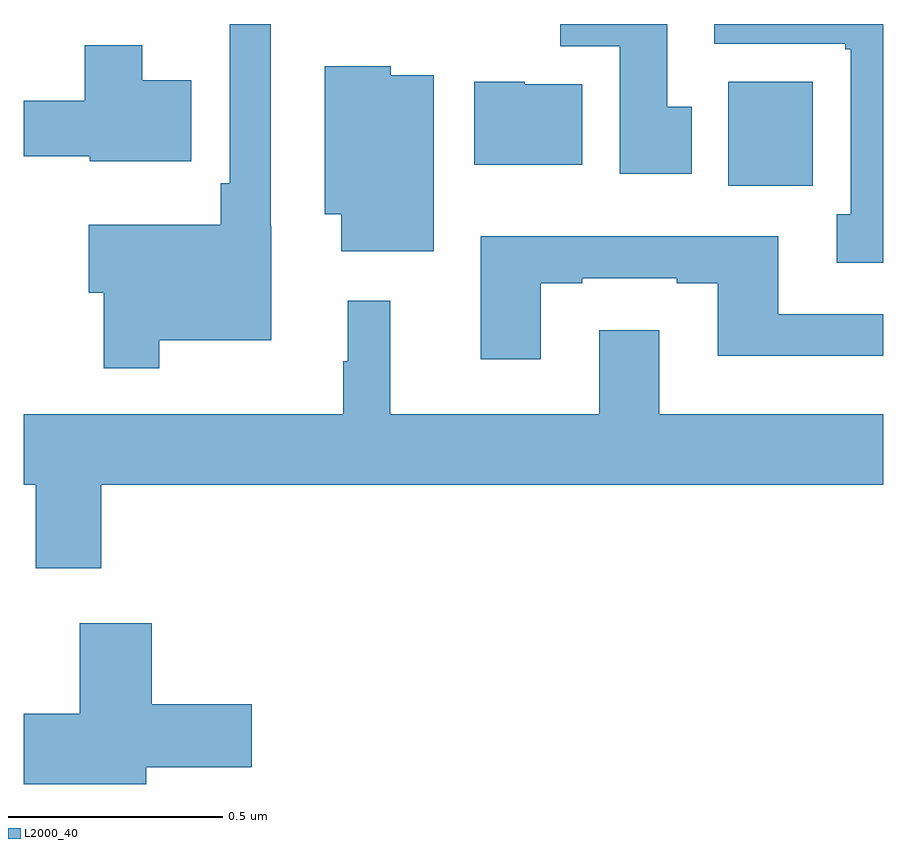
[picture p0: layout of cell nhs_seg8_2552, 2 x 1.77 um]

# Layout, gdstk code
import gdstk
lib = gdstk.Library(unit=1e-6, precision=1e-09)
def R(c, l, rs):  # rectangles x0, y0, x1, y1
    for r in rs: c.add(gdstk.rectangle(r[:2], r[2:], *l))
def P(c, l, *ps):  # polygons
    for p in ps: c.add(gdstk.Polygon(p, *l))
L2000_40 = (2000, 40)

nhs_seg8_2552 = lib.new_cell('nhs_seg8_2552')
R(nhs_seg8_2552, L2000_40, [(146.639,1122.524,146.836,1122.766)])
P(nhs_seg8_2552, L2000_40, [(146.554,1122.708),(146.497,1122.708),(146.497,1122.9),(146.248,1122.9),(146.248,1122.848),(146.387,1122.848),(146.387,1122.552),(146.554,1122.552)],
  [(145.315,1122.164),(145.576,1122.164),(145.576,1122.429),(145.575,1122.429),(145.575,1122.9),(145.479,1122.9),(145.479,1122.529),(145.459,1122.529),(145.459,1122.433),(145.152,1122.433),(145.152,1122.275),(145.186,1122.275),(145.186,1122.099),(145.315,1122.099)],
  [(147,1122.9),(146.607,1122.9),(146.607,1122.854),(146.911,1122.854),(146.911,1122.841),(146.924,1122.841),(146.924,1122.458),(146.891,1122.458),(146.891,1122.345),(147,1122.345)],
  [(145.39,1122.769),(145.276,1122.769),(145.276,1122.85),(145.142,1122.85),(145.142,1122.721),(145,1122.721),(145,1122.592),(145.154,1122.592),(145.154,1122.581),(145.39,1122.581)],
  [(145.954,1122.781),(145.854,1122.781),(145.854,1122.802),(145.7,1122.802),(145.7,1122.458),(145.739,1122.458),(145.739,1122.371),(145.954,1122.371)],
  [(146.299,1122.76),(146.166,1122.76),(146.166,1122.766),(146.048,1122.766),(146.048,1122.572),(146.299,1122.572)],
  [(146.203,1122.297),(146.299,1122.297),(146.299,1122.309),(146.519,1122.309),(146.519,1122.297),(146.615,1122.297),(146.615,1122.128),(147,1122.128),(147,1122.225),(146.755,1122.225),(146.755,1122.406),(146.063,1122.406),(146.063,1122.12),(146.203,1122.12)],
  [(145.181,1121.828),(147,1121.828),(147,1121.992),(146.479,1121.992),(146.479,1122.187),(146.339,1122.187),(146.339,1121.992),(145.853,1121.992),(145.853,1122.256),(145.754,1122.256),(145.754,1122.116),(145.743,1122.116),(145.743,1121.992),(145,1121.992),(145,1121.828),(145.028,1121.828),(145.028,1121.634),(145.181,1121.634)],
  [(145.285,1121.171),(145.531,1121.171),(145.531,1121.318),(145.298,1121.318),(145.298,1121.506),(145.13,1121.506),(145.13,1121.295),(145,1121.295),(145,1121.132),(145.285,1121.132)])

lib.write_gds('nhs_seg8_2552.gds')
